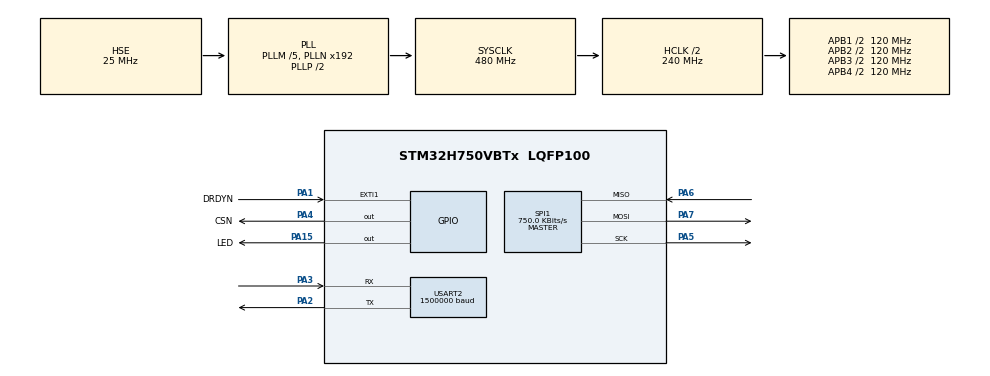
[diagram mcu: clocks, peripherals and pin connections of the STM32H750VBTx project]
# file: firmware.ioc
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CORTEX_M7.CPU_ICache=Disabled
Mcu.Family=STM32H7
Mcu.Name=STM32H750VBTx
Mcu.Package=LQFP100
NVIC.EXTI1_IRQn=true\:0\:0\:false\:false\:true\:true\:true\:true
NVIC.PriorityGroup=NVIC_PRIORITYGROUP_4
NVIC.TIM4_IRQn=true\:0\:0\:false\:false\:true\:true\:true\:true
NVIC.USART2_IRQn=true\:0\:0\:false\:false\:true\:true\:true\:true
PA1.GPIO_Label=DRDYN
PA1.GPIO_ModeDefaultEXTI=GPIO_MODE_IT_FALLING
PA1.Signal=GPXTI1
PA13\ (JTMS/SWDIO).Mode=Serial_Wire
PA13\ (JTMS/SWDIO).Signal=DEBUG_JTMS-SWDIO
PA14\ (JTCK/SWCLK).Mode=Serial_Wire
PA14\ (JTCK/SWCLK).Signal=DEBUG_JTCK-SWCLK
PA15\ (JTDI).GPIO_Label=LED
PA15\ (JTDI).GPIO_Speed=GPIO_SPEED_FREQ_MEDIUM
PA15\ (JTDI).Signal=GPIO_Output
PA2.Mode=Asynchronous
PA2.Signal=USART2_TX
PA3.Mode=Asynchronous
PA3.Signal=USART2_RX
PA4.GPIO_Label=CSN
PA4.GPIO_Speed=GPIO_SPEED_FREQ_MEDIUM
PA4.PinState=GPIO_PIN_SET
PA4.Signal=GPIO_Output
PA5.GPIO_Speed=GPIO_SPEED_FREQ_MEDIUM
PA5.Mode=Full_Duplex_Master
PA5.Signal=SPI1_SCK
PA6.GPIO_Speed=GPIO_SPEED_FREQ_MEDIUM
PA6.Mode=Full_Duplex_Master
PA6.Signal=SPI1_MISO
PA7.GPIO_Speed=GPIO_SPEED_FREQ_MEDIUM
PA7.Mode=Full_Duplex_Master
PA7.Signal=SPI1_MOSI
PC14-OSC32_IN\ (OSC32_IN).Mode=LSE-External-Oscillator
PC14-OSC32_IN\ (OSC32_IN).Signal=RCC_OSC32_IN
PC15-OSC32_OUT\ (OSC32_OUT).Mode=LSE-External-Oscillator
PC15-OSC32_OUT\ (OSC32_OUT).Signal=RCC_OSC32_OUT
PH0-OSC_IN\ (PH0).Mode=HSE-External-Oscillator
PH0-OSC_IN\ (PH0).Signal=RCC_OSC_IN
PH1-OSC_OUT\ (PH1).Mode=HSE-External-Oscillator
PH1-OSC_OUT\ (PH1).Signal=RCC_OSC_OUT
ProjectManager.HeapSize=0x200
ProjectManager.StackSize=0x400
ProjectManager.TargetToolchain=MDK-ARM V5.32
RCC.ADCFreq_Value=50390625
RCC.APB1Freq_Value=120000000
RCC.APB2Freq_Value=120000000
RCC.APB3Freq_Value=120000000
RCC.APB4Freq_Value=120000000
RCC.CortexFreq_Value=480000000
RCC.D1PPRE=RCC_APB3_DIV2
RCC.D2PPRE1=RCC_APB1_DIV2
RCC.D2PPRE2=RCC_APB2_DIV2
RCC.D3PPRE=RCC_APB4_DIV2
RCC.DIVM1=5
RCC.DIVM3=2
RCC.DIVN1=192
RCC.DIVN3=12
RCC.DIVQ1=5
RCC.DIVQ3=3
RCC.HCLKFreq_Value=240000000
RCC.HPRE=RCC_HCLK_DIV2
RCC.PLL2FRACN=0
RCC.PLL3FRACN=0
RCC.PLLFRACN=0
RCC.PLLSourceVirtual=RCC_PLLSOURCE_HSE
RCC.PWR_Regulator_Voltage_Scale=PWR_REGULATOR_VOLTAGE_SCALE0
RCC.ProductRev=revV
RCC.SYSCLKFreq_VALUE=480000000
RCC.SYSCLKSource=RCC_SYSCLKSOURCE_PLLCLK
RCC.USBCLockSelection=RCC_USBCLKSOURCE_HSI48
RCC.USBFreq_Value=48000000
SPI1.BaudRatePrescaler=SPI_BAUDRATEPRESCALER_256
SPI1.CLKPhase=SPI_PHASE_2EDGE
SPI1.CLKPolarity=SPI_POLARITY_LOW
SPI1.CalculateBaudRate=750.0 KBits/s
SPI1.DataSize=SPI_DATASIZE_8BIT
SPI1.Direction=SPI_DIRECTION_2LINES
SPI1.Mode=SPI_MODE_MASTER
SPI1.VirtualType=VM_MASTER
TIM4.AutoReloadPreload=TIM_AUTORELOAD_PRELOAD_ENABLE
TIM4.Period=65535
TIM4.Prescaler=239
USART2.BaudRate=1500000
USART2.VirtualMode-Asynchronous=VM_ASYNC
VP_TIM4_VS_ClockSourceINT.Mode=Internal
board=custom

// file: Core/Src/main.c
/* USER CODE BEGIN Header */
/**
  ******************************************************************************
  * @file           : main.c
  * @brief          : Main program body
  ******************************************************************************
  * @attention
  *
  * Copyright (c) 2023 STMicroelectronics.
  * All rights reserved.
  *
  * This software is licensed under terms that can be found in the LICENSE file
  * in the root directory of this software component.
  * If no LICENSE file comes with this software, it is provided AS-IS.
  *
  ******************************************************************************
  */
/* USER CODE END Header */
#include "main.h"
#include "spi.h"
#include "tim.h"
#include "usart.h"
#include "gpio.h"

/* USER CODE BEGIN Includes */
#include "lha7220.h"
#include "example.h"
/* USER CODE END Includes */

/* USER CODE BEGIN PV */
volatile uint8_t falg_data_ready = 0;
uint32_t data_mem[2048];
//unsigned char wreg_conse[4] = {0xB0,0xD2,0xE3,0xF4};
//unsigned char rreg_conse[4] = {0,0,0,0};
unsigned wreg[4] = {0x64,0x04,0x16,0xD6};
unsigned rreg[4] = {0x0,0x0,0x0,0x0};
/* USER CODE END PV */

void SystemClock_Config(void);

/* USER CODE BEGIN 0 */

int fputc(int ch, FILE *f)
{
    HAL_UART_Transmit(&huart2, (uint8_t *)&ch, 1, 2);
    return ch;
}

void delay_us(uint16_t us)
{
  __HAL_TIM_SET_COUNTER(&htim4, 0);
  HAL_TIM_Base_Start(&htim4);
  while (__HAL_TIM_GET_COUNTER(&htim4) < us);
  HAL_TIM_Base_Stop(&htim4);
}

void delay_ms(uint16_t ms)
{
  for (uint16_t i = 0; i < ms; i++)
  {
    delay_us(1000);
  }
}

void HAL_GPIO_EXTI_Callback(uint16_t GPIO_Pin) {
  if (GPIO_Pin == DRDYN_Pin) {
    // DRDYn falling edge triger interrupt
    falg_data_ready=1;
    example_on_drdy_irq();

  }
}

/* USER CODE END 0 */

int main(void)
{
  /* USER CODE BEGIN 1 */
	uint32_t adc_data;
	float volt_mv,volt_mv1,res;
	uint16_t data_cnt = 0;
  /* USER CODE END 1 */

  /* MCU Configuration--------------------------------------------------------*/

  /* Reset of all peripherals, Initializes the Flash interface and the Systick. */
  HAL_Init();

  /* Configure the system clock */
  SystemClock_Config();

  /* Initialize all configured peripherals */
  MX_GPIO_Init();
  MX_SPI1_Init();
  MX_TIM4_Init();
  MX_USART2_UART_Init();
  /* USER CODE BEGIN 2 */
	printf("firmware start\r\n");

  /* Initialize device */
	example_init();

  /* USER CODE END 2 */

  /* Infinite loop */
  while (1)
  {

    /* USER CODE BEGIN 3 */
		example_loop();
  }
  /* USER CODE END 3 */
}

void SystemClock_Config(void)
{
  RCC_OscInitTypeDef RCC_OscInitStruct = {0};
  RCC_ClkInitTypeDef RCC_ClkInitStruct = {0};

  /** Supply configuration update enable
  */
  HAL_PWREx_ConfigSupply(PWR_LDO_SUPPLY);

  /** Configure the main internal regulator output voltage
  */
  __HAL_PWR_VOLTAGESCALING_CONFIG(PWR_REGULATOR_VOLTAGE_SCALE1);

  while(!__HAL_PWR_GET_FLAG(PWR_FLAG_VOSRDY)) {}

  __HAL_RCC_SYSCFG_CLK_ENABLE();
  __HAL_PWR_VOLTAGESCALING_CONFIG(PWR_REGULATOR_VOLTAGE_SCALE0);

  while(!__HAL_PWR_GET_FLAG(PWR_FLAG_VOSRDY)) {}

  /** Initializes the RCC Oscillators according to the specified parameters
  * in the RCC_OscInitTypeDef structure.
  */
  RCC_OscInitStruct.OscillatorType = RCC_OSCILLATORTYPE_HSE;
  RCC_OscInitStruct.HSEState = RCC_HSE_ON;
  RCC_OscInitStruct.PLL.PLLState = RCC_PLL_ON;
  RCC_OscInitStruct.PLL.PLLSource = RCC_PLLSOURCE_HSE;
  RCC_OscInitStruct.PLL.PLLM = 5;
  RCC_OscInitStruct.PLL.PLLN = 192;
  RCC_OscInitStruct.PLL.PLLP = 2;
  RCC_OscInitStruct.PLL.PLLQ = 5;
  RCC_OscInitStruct.PLL.PLLR = 2;
  RCC_OscInitStruct.PLL.PLLRGE = RCC_PLL1VCIRANGE_2;
  RCC_OscInitStruct.PLL.PLLVCOSEL = RCC_PLL1VCOWIDE;
  RCC_OscInitStruct.PLL.PLLFRACN = 0;
  if (HAL_RCC_OscConfig(&RCC_OscInitStruct) != HAL_OK)
  {
    Error_Handler();
  }

  /** Initializes the CPU, AHB and APB buses clocks
  */
  RCC_ClkInitStruct.ClockType = RCC_CLOCKTYPE_HCLK|RCC_CLOCKTYPE_SYSCLK
                              |RCC_CLOCKTYPE_PCLK1|RCC_CLOCKTYPE_PCLK2
                              |RCC_CLOCKTYPE_D3PCLK1|RCC_CLOCKTYPE_D1PCLK1;
  RCC_ClkInitStruct.SYSCLKSource = RCC_SYSCLKSOURCE_PLLCLK;
  RCC_ClkInitStruct.SYSCLKDivider = RCC_SYSCLK_DIV1;
  RCC_ClkInitStruct.AHBCLKDivider = RCC_HCLK_DIV2;
  RCC_ClkInitStruct.APB3CLKDivider = RCC_APB3_DIV2;
  RCC_ClkInitStruct.APB1CLKDivider = RCC_APB1_DIV2;
  RCC_ClkInitStruct.APB2CLKDivider = RCC_APB2_DIV2;
  RCC_ClkInitStruct.APB4CLKDivider = RCC_APB4_DIV2;

  if (HAL_RCC_ClockConfig(&RCC_ClkInitStruct, FLASH_LATENCY_4) != HAL_OK)
  {
    Error_Handler();
  }
}

void Error_Handler(void)
{
  __disable_irq();
  while (1)
  {
  }
}
